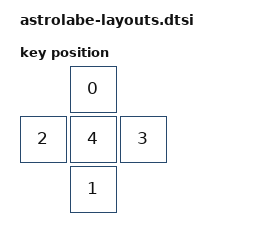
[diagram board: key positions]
// SPDX-FileCopyrightText: 2026 Dylan Lee
// SPDX-License-Identifier: Apache-2.0

#include <physical_layouts.dtsi>

/ {
    astrolabe_layout: astrolabe_layout {
        compatible = "zmk,physical-layout";
        display-name = "Five-way";

        // Up, Down, Left, Right, Center.
        keys = <&key_physical_attrs 100 100 100   0   0 0 0>
             , <&key_physical_attrs 100 100 100 200   0 0 0>
             , <&key_physical_attrs 100 100   0 100   0 0 0>
             , <&key_physical_attrs 100 100 200 100   0 0 0>
             , <&key_physical_attrs 100 100 100 100   0 0 0>
             ;
    };
};

